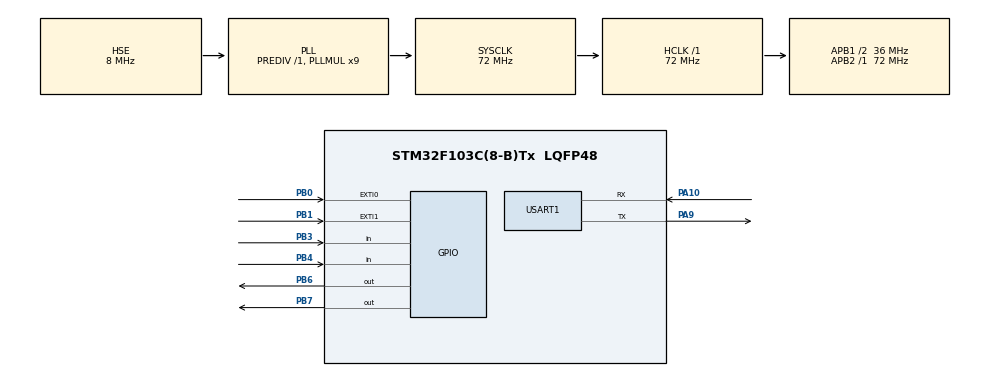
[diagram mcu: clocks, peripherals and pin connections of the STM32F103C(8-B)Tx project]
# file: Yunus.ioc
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Mcu.Family=STM32F1
Mcu.Name=STM32F103C(8-B)Tx
Mcu.Package=LQFP48
NVIC.EXTI0_IRQn=true\:0\:0\:false\:false\:true\:true
NVIC.EXTI1_IRQn=true\:0\:0\:false\:false\:true\:true
NVIC.PriorityGroup=NVIC_PRIORITYGROUP_4
NVIC.TIM1_UP_IRQn=true\:0\:0\:false\:false\:true\:true
NVIC.TIM2_IRQn=true\:0\:0\:false\:false\:true\:true
NVIC.TIM3_IRQn=true\:0\:0\:false\:false\:true\:true
PA10.Mode=Asynchronous
PA10.Signal=USART1_RX
PA9.Mode=Asynchronous
PA9.Signal=USART1_TX
PB0.GPIO_PuPd=GPIO_PULLUP
PB0.Signal=GPXTI0
PB1.GPIO_PuPd=GPIO_PULLUP
PB1.Signal=GPXTI1
PB3.GPIO_PuPd=GPIO_PULLUP
PB3.Signal=GPIO_Input
PB4.GPIO_PuPd=GPIO_PULLUP
PB4.Signal=GPIO_Input
PB6.Signal=GPIO_Output
PB7.Signal=GPIO_Output
PD0-OSC_IN.Mode=HSE-External-Oscillator
PD0-OSC_IN.Signal=RCC_OSC_IN
PD1-OSC_OUT.Mode=HSE-External-Oscillator
PD1-OSC_OUT.Signal=RCC_OSC_OUT
ProjectManager.HeapSize=0x800
ProjectManager.StackSize=0x800
ProjectManager.TargetToolchain=MDK-ARM V5
RCC.AHBFreq_Value=72000000
RCC.APB1CLKDivider=RCC_HCLK_DIV2
RCC.APB1Freq_Value=36000000
RCC.APB1TimFreq_Value=72000000
RCC.APB2Freq_Value=72000000
RCC.APB2TimFreq_Value=72000000
RCC.HCLKFreq_Value=72000000
RCC.PLLMUL=RCC_PLL_MUL9
RCC.PLLSourceVirtual=RCC_PLLSOURCE_HSE
RCC.SYSCLKFreq_VALUE=72000000
RCC.SYSCLKSource=RCC_SYSCLKSOURCE_PLLCLK
RCC.USBFreq_Value=72000000
TIM1.AutoReloadPreload=TIM_AUTORELOAD_PRELOAD_ENABLE
TIM1.Period=255
TIM1.Prescaler=1
TIM2.AutoReloadPreload=TIM_AUTORELOAD_PRELOAD_ENABLE
TIM2.ClockDivision=TIM_CLOCKDIVISION_DIV2
TIM2.Period=7000
TIM2.Prescaler=1000
TIM3.AutoReloadPreload=TIM_AUTORELOAD_PRELOAD_ENABLE
TIM3.ClockDivision=TIM_CLOCKDIVISION_DIV2
TIM3.Period=1000
TIM3.Prescaler=100
USART1.VirtualMode=VM_ASYNC
VP_SYS_VS_ND.Mode=No_Debug
VP_TIM1_VS_ClockSourceINT.Mode=Internal
VP_TIM2_VS_ClockSourceINT.Mode=Internal
VP_TIM3_VS_ClockSourceINT.Mode=Internal
board=custom

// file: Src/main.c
/**
  ******************************************************************************
  * @file           : main.c
  * @brief          : Main program body
  ******************************************************************************
  ** This notice applies to any and all portions of this file
  * that are not between comment pairs USER CODE BEGIN and
  * USER CODE END. Other portions of this file, whether
  * inserted by the user or by software development tools
  * are owned by their respective copyright owners.
  *
  * COPYRIGHT(c) 2018 STMicroelectronics
  *
  * Redistribution and use in source and binary forms, with or without modification,
  * are permitted provided that the following conditions are met:
  *   1. Redistributions of source code must retain the above copyright notice,
  *      this list of conditions and the following disclaimer.
  *   2. Redistributions in binary form must reproduce the above copyright notice,
  *      this list of conditions and the following disclaimer in the documentation
  *      and/or other materials provided with the distribution.
  *   3. Neither the name of STMicroelectronics nor the names of its contributors
  *      may be used to endorse or promote products derived from this software
  *      without specific prior written permission.
  *
  * THIS SOFTWARE IS PROVIDED BY THE COPYRIGHT HOLDERS AND CONTRIBUTORS "AS IS"
  * AND ANY EXPRESS OR IMPLIED WARRANTIES, INCLUDING, BUT NOT LIMITED TO, THE
  * IMPLIED WARRANTIES OF MERCHANTABILITY AND FITNESS FOR A PARTICULAR PURPOSE ARE
  * DISCLAIMED. IN NO EVENT SHALL THE COPYRIGHT HOLDER OR CONTRIBUTORS BE LIABLE
  * FOR ANY DIRECT, INDIRECT, INCIDENTAL, SPECIAL, EXEMPLARY, OR CONSEQUENTIAL
  * DAMAGES (INCLUDING, BUT NOT LIMITED TO, PROCUREMENT OF SUBSTITUTE GOODS OR
  * SERVICES; LOSS OF USE, DATA, OR PROFITS; OR BUSINESS INTERRUPTION) HOWEVER
  * CAUSED AND ON ANY THEORY OF LIABILITY, WHETHER IN CONTRACT, STRICT LIABILITY,
  * OR TORT (INCLUDING NEGLIGENCE OR OTHERWISE) ARISING IN ANY WAY OUT OF THE USE
  * OF THIS SOFTWARE, EVEN IF ADVISED OF THE POSSIBILITY OF SUCH DAMAGE.
  *
  ******************************************************************************
  */
#include "main.h"
#include "stm32f1xx_hal.h"

/* USER CODE BEGIN Includes */
#include <stdio.h>
#include <stdlib.h>
#include <string.h>
/* USER CODE END Includes */

TIM_HandleTypeDef htim1;
TIM_HandleTypeDef htim2;
TIM_HandleTypeDef htim3;

UART_HandleTypeDef huart1;

/* USER CODE BEGIN PV */
/* Private variables ---------------------------------------------------------*/

/* USER CODE END PV */

void SystemClock_Config(void);
static void MX_GPIO_Init(void);
static void MX_TIM1_Init(void);
static void MX_TIM2_Init(void);
static void MX_TIM3_Init(void);
static void MX_USART1_UART_Init(void);

/* USER CODE BEGIN PFP */
/* Private function prototypes -----------------------------------------------*/

/* USER CODE END PFP */

/* USER CODE BEGIN 0 */

struct __FILE
{
	int dummy;
};

FILE __stdout;

#ifdef __GNUC__
  /* With GCC/RAISONANCE, small printf (option LD Linker->Libraries->Small printf
     set to 'Yes') calls __io_putchar() */
  #define PUTCHAR_PROTOTYPE int __io_putchar(int ch)
#else
  #define PUTCHAR_PROTOTYPE int fputc(int ch, FILE *f)
#endif /* __GNUC__ */

TIM_HandleTypeDef htim1;
TIM_HandleTypeDef htim2;

uint32_t tim2counter01 = 0;
uint32_t tim2counter02 = 0;
uint32_t tim2counter03 = 0;
uint32_t tim2counter04 = 0;
uint8_t extiTick01 = 0;

uint8_t t2tick_flag01 = 0;
char strText[40];

__IO uint32_t pulsecounter01 = 0;
__IO uint32_t totalcounter01 = 0;
__IO uint32_t totalcounter02 = 0;
uint32_t pseq01 = 16;
uint32_t pseq02 = 11;
uint32_t pseq03 = 5;
uint32_t seq01 = 0;
uint32_t seq02 = 0;
uint32_t seq03 = 0;

uint32_t outpulseqntt = 74;
uint32_t inout_pulse_ratio = 0;
uint32_t out_pulse_width = 0;
uint32_t out_pulse_half_width = 0;
uint32_t out_pulse_counter01 = 0; //To control pulse width
uint32_t out_pulse_counter02 = 0; //To control output pulse quantity

uint8_t op_flag = 0;

uint8_t start_flag01 = 0;
uint8_t start_flag02 = 0;

uint32_t inpulsewidthacc = 0;
uint32_t inpwarr[10];
uint32_t ipwidx = 0;

uint32_t pulse_on_counter = 0;

__IO uint32_t cycle_counter = 0;

uint32_t ppdist01 = 0;
uint32_t ppdist02 = 0;

void HAL_TIM_PeriodElapsedCallback(TIM_HandleTypeDef *htim)
{
	if(htim->Instance == TIM2)
	{
		if(tim2counter01 < 1000UL) //320000)
		{
			tim2counter01++;
		}
		else
		{
			tim2counter01 = 0;
			t2tick_flag01 = 1;

			if(totalcounter02 >= outpulseqntt)
			{
				inout_pulse_ratio = (((totalcounter02 * 1000UL) - 1400UL) / outpulseqntt);
			}
			else
			{
				inout_pulse_ratio = (((totalcounter02  * 1000UL) - 1400UL) / outpulseqntt);
			}

			out_pulse_width = ((tim2counter03 * inout_pulse_ratio) / 1000UL);

			if(out_pulse_width > 1)
			{
				out_pulse_half_width = out_pulse_width / 2;
			}

		}

		if(pulse_on_counter > 0)
		{
			pulse_on_counter--;
		}
		else
		{
			HAL_GPIO_WritePin(GPIOB, GPIO_PIN_6, GPIO_PIN_RESET);

			if(start_flag01 == 1)
			{
				out_pulse_counter02 = (outpulseqntt * 2UL);
				out_pulse_counter01 = out_pulse_half_width;
				start_flag01 = 0;
			}
		}

		if(out_pulse_half_width > 0)
		{
			if(out_pulse_counter01 < out_pulse_half_width)
			{
				out_pulse_counter01++;
			}
			else
			{
				out_pulse_counter01 = 0;

				if(out_pulse_counter02 > 0)
				{
					HAL_GPIO_TogglePin(GPIOB, GPIO_PIN_7);
					out_pulse_counter02--;
				}
				else
				{
					HAL_GPIO_WritePin(GPIOB, GPIO_PIN_7, GPIO_PIN_RESET);
				}
			}
		}

		if(tim2counter02 < 1000000)
		{
			tim2counter02++;
		}
	}
}

uint8_t round_flag = 0;

void HAL_GPIO_EXTI_Callback(uint16_t GPIO_Pin)
{
	if(GPIO_Pin == GPIO_PIN_0)
	{
		tim2counter04 = tim2counter02;
		tim2counter02 = 0;
		pulsecounter01++;

		if(ipwidx < 10)
		{

			inpulsewidthacc = inpwarr[0] + inpwarr[1] + inpwarr[2] + inpwarr[3] + inpwarr[4] + inpwarr[5] + inpwarr[6] + inpwarr[7] + inpwarr[8] + inpwarr[9];
			tim2counter03 = (inpulsewidthacc / 10);

			inpwarr[ipwidx] = tim2counter04;

			ipwidx++;
		}
		else
		{
			ipwidx = 0;
			round_flag = 1;
			//inpulsewidthacc = 0;
		}

	}
	if(GPIO_Pin == GPIO_PIN_1)
	{
		seq03 = pulsecounter01;

		totalcounter01 += pulsecounter01;
		//ppdist02 = ppdist01;
		//ppdist01 = 0;

		//if((seq01 == pseq01) || (seq02 == pseq02) || (seq03 == pseq03))
		//{
		//}

		if(seq03 == pseq01)
		{
			if(totalcounter01 == (totalcounter02 - (pseq02 + pseq03)))
			{
				HAL_GPIO_WritePin(GPIOB, GPIO_PIN_6, GPIO_PIN_SET);
				pulse_on_counter = out_pulse_half_width;

				start_flag01 = 1;
				//out_pulse_counter02 = (outpulseqntt * 2UL);
			}
		}
		else if(seq03 == pseq02)
		{
			if(totalcounter01 == (totalcounter02 - pseq03))
			{
				HAL_GPIO_WritePin(GPIOB, GPIO_PIN_6, GPIO_PIN_SET);
				pulse_on_counter = out_pulse_half_width;
			}
		}
		else if(seq03 == pseq03)
		{
			if(totalcounter01 == totalcounter02)
			{
				HAL_GPIO_WritePin(GPIOB, GPIO_PIN_6, GPIO_PIN_SET);
				pulse_on_counter = out_pulse_half_width;
			}
		}

		if((seq01 == pseq01) && (seq02 == pseq02) && (seq03 == pseq03))
		{
			totalcounter02 = totalcounter01; //totalcounter02 : pulse per cycle matched.
			totalcounter01 = 0;

			if(cycle_counter < 100000)
			{
				cycle_counter++;
			}
			else
			{
				cycle_counter = 0;
			}
		}

		seq01 = seq02;
		seq02 = seq03;

		pulsecounter01 = 0;
	}
}

PUTCHAR_PROTOTYPE
{
  /* Place your implementation of fputc here */
  /* e.g. write a character to the USART */
  HAL_UART_Transmit(&huart1, (uint8_t*) &ch, 1, 0x0fff);

  /* Loop until the end of transmission */
  //while (USART_GetFlagStatus(Port_USART, USART_FLAG_TC) == RESET)
  //{}

  return ch;
}

/* USER CODE END 0 */

int main(void)
{

  /* MCU Configuration----------------------------------------------------------*/

  /* Reset of all peripherals, Initializes the Flash interface and the Systick. */
  HAL_Init();

  /* Configure the system clock */
  SystemClock_Config();

  /* Initialize all configured peripherals */
  MX_GPIO_Init();
  MX_TIM1_Init();
  MX_TIM2_Init();
  MX_TIM3_Init();
  MX_USART1_UART_Init();
  /* USER CODE BEGIN 2 */

	uint32_t lambda02 = 0;
	uint32_t lambda01 = 0;

	HAL_TIM_Base_Start_IT(&htim2);

  /* USER CODE END 2 */

  /* Infinite loop */
  /* USER CODE BEGIN WHILE */
  while (1)
  {

		//HAL_Delay(50);

  /* USER CODE END WHILE */

  /* USER CODE BEGIN 3 */
		if(t2tick_flag01 == 1)
		{
			t2tick_flag01 = 0;
			//sprintf(strText, "pulse_width : %05d", tim2counter03);
			//printf("%s ", strText);

			//from calc assuming that timer2 resolution is 3.949uS .

			lambda02 = (1000000000UL / (3949UL * tim2counter03));
			//lambda01 = (lambda02/1000);
			sprintf(strText, "freq : %05d ", lambda02);
			printf("%s ", strText);

			////sprintf(strText, "seq : %03d %03d %03d ", seq01, seq02, seq03);
			//sprintf(strText, "cycles : %06d", cycle_counter);
			//printf("%s ", strText);

			//sprintf(strText, "pulse/cycle %04d \r\n", totalcounter02);
			//printf("%s ", strText);

			//sprintf(strText, "pulse dist %05d\r\n", ppdist02);
			//printf("%s ", strText);

			/*	We know that our Timer2 tick time is 3.949 uS = 3949 pico seconds. Total pulse per circle is totalcounter02 .
					Each pulse width is (tim2counter03 * 3949) pico seconds. So full circle needs
					( totalcounter02 * tim2counter03 * 3949 ) picoseconds. We need to deliver outpulseqntt amount of pulses within the
					circle time. One of the factor is this circle time is real time variable depends on input pulse width.
					So we need to find out a relational factor between input pulse width and output pulse width.
					Lets assume that our time unit is each tick time of Timer2 ( i.e. 3.949 uS = 3949 picoseconds ) .
					Pulse width is tim2counter03 variable.
			*/

			/*
			if(totalcounter02 > outpulseqntt)
			{
				inout_pulse_ratio = (((totalcounter02 - 1) * 1000UL) / outpulseqntt);
			}
			else
			{
				inout_pulse_ratio = 1000;
			}

			out_pulse_width = ((tim2counter03 * inout_pulse_ratio) / 1000UL);

			if(out_pulse_width > 1)
			{
				out_pulse_half_width = out_pulse_width / 2;
			}
			*/
		}

  }
  /* USER CODE END 3 */

}

void SystemClock_Config(void)
{

  RCC_OscInitTypeDef RCC_OscInitStruct;
  RCC_ClkInitTypeDef RCC_ClkInitStruct;

    /**Initializes the CPU, AHB and APB busses clocks
    */
  RCC_OscInitStruct.OscillatorType = RCC_OSCILLATORTYPE_HSE;
  RCC_OscInitStruct.HSEState = RCC_HSE_ON;
  RCC_OscInitStruct.HSEPredivValue = RCC_HSE_PREDIV_DIV1;
  RCC_OscInitStruct.HSIState = RCC_HSI_ON;
  RCC_OscInitStruct.PLL.PLLState = RCC_PLL_ON;
  RCC_OscInitStruct.PLL.PLLSource = RCC_PLLSOURCE_HSE;
  RCC_OscInitStruct.PLL.PLLMUL = RCC_PLL_MUL9;
  if (HAL_RCC_OscConfig(&RCC_OscInitStruct) != HAL_OK)
  {
    _Error_Handler(__FILE__, __LINE__);
  }

    /**Initializes the CPU, AHB and APB busses clocks
    */
  RCC_ClkInitStruct.ClockType = RCC_CLOCKTYPE_HCLK|RCC_CLOCKTYPE_SYSCLK
                              |RCC_CLOCKTYPE_PCLK1|RCC_CLOCKTYPE_PCLK2;
  RCC_ClkInitStruct.SYSCLKSource = RCC_SYSCLKSOURCE_PLLCLK;
  RCC_ClkInitStruct.AHBCLKDivider = RCC_SYSCLK_DIV1;
  RCC_ClkInitStruct.APB1CLKDivider = RCC_HCLK_DIV2;
  RCC_ClkInitStruct.APB2CLKDivider = RCC_HCLK_DIV1;

  if (HAL_RCC_ClockConfig(&RCC_ClkInitStruct, FLASH_LATENCY_2) != HAL_OK)
  {
    _Error_Handler(__FILE__, __LINE__);
  }

    /**Configure the Systick interrupt time
    */
  HAL_SYSTICK_Config(HAL_RCC_GetHCLKFreq()/1000);

    /**Configure the Systick
    */
  HAL_SYSTICK_CLKSourceConfig(SYSTICK_CLKSOURCE_HCLK);

  /* SysTick_IRQn interrupt configuration */
  HAL_NVIC_SetPriority(SysTick_IRQn, 0, 0);
}

/* TIM1 init function */
static void MX_TIM1_Init(void)
{

  TIM_ClockConfigTypeDef sClockSourceConfig;
  TIM_MasterConfigTypeDef sMasterConfig;

  htim1.Instance = TIM1;
  htim1.Init.Prescaler = 1;
  htim1.Init.CounterMode = TIM_COUNTERMODE_UP;
  htim1.Init.Period = 255;
  htim1.Init.ClockDivision = TIM_CLOCKDIVISION_DIV1;
  htim1.Init.RepetitionCounter = 0;
  htim1.Init.AutoReloadPreload = TIM_AUTORELOAD_PRELOAD_ENABLE;
  if (HAL_TIM_Base_Init(&htim1) != HAL_OK)
  {
    _Error_Handler(__FILE__, __LINE__);
  }

  sClockSourceConfig.ClockSource = TIM_CLOCKSOURCE_INTERNAL;
  if (HAL_TIM_ConfigClockSource(&htim1, &sClockSourceConfig) != HAL_OK)
  {
    _Error_Handler(__FILE__, __LINE__);
  }

  sMasterConfig.MasterOutputTrigger = TIM_TRGO_RESET;
  sMasterConfig.MasterSlaveMode = TIM_MASTERSLAVEMODE_DISABLE;
  if (HAL_TIMEx_MasterConfigSynchronization(&htim1, &sMasterConfig) != HAL_OK)
  {
    _Error_Handler(__FILE__, __LINE__);
  }

}

/* TIM2 init function */
static void MX_TIM2_Init(void)
{

  TIM_ClockConfigTypeDef sClockSourceConfig;
  TIM_MasterConfigTypeDef sMasterConfig;

  htim2.Instance = TIM2;
  htim2.Init.Prescaler = 1;
  htim2.Init.CounterMode = TIM_COUNTERMODE_UP;
  htim2.Init.Period = 70;
  htim2.Init.ClockDivision = TIM_CLOCKDIVISION_DIV2;
  htim2.Init.AutoReloadPreload = TIM_AUTORELOAD_PRELOAD_ENABLE;
  if (HAL_TIM_Base_Init(&htim2) != HAL_OK)
  {
    _Error_Handler(__FILE__, __LINE__);
  }

  sClockSourceConfig.ClockSource = TIM_CLOCKSOURCE_INTERNAL;
  if (HAL_TIM_ConfigClockSource(&htim2, &sClockSourceConfig) != HAL_OK)
  {
    _Error_Handler(__FILE__, __LINE__);
  }

  sMasterConfig.MasterOutputTrigger = TIM_TRGO_RESET;
  sMasterConfig.MasterSlaveMode = TIM_MASTERSLAVEMODE_DISABLE;
  if (HAL_TIMEx_MasterConfigSynchronization(&htim2, &sMasterConfig) != HAL_OK)
  {
    _Error_Handler(__FILE__, __LINE__);
  }

}

/* TIM3 init function */
static void MX_TIM3_Init(void)
{

  TIM_ClockConfigTypeDef sClockSourceConfig;
  TIM_MasterConfigTypeDef sMasterConfig;

  htim3.Instance = TIM3;
  htim3.Init.Prescaler = 100;
  htim3.Init.CounterMode = TIM_COUNTERMODE_UP;
  htim3.Init.Period = 1000;
  htim3.Init.ClockDivision = TIM_CLOCKDIVISION_DIV2;
  htim3.Init.AutoReloadPreload = TIM_AUTORELOAD_PRELOAD_ENABLE;
  if (HAL_TIM_Base_Init(&htim3) != HAL_OK)
  {
    _Error_Handler(__FILE__, __LINE__);
  }

  sClockSourceConfig.ClockSource = TIM_CLOCKSOURCE_INTERNAL;
  if (HAL_TIM_ConfigClockSource(&htim3, &sClockSourceConfig) != HAL_OK)
  {
    _Error_Handler(__FILE__, __LINE__);
  }

  sMasterConfig.MasterOutputTrigger = TIM_TRGO_RESET;
  sMasterConfig.MasterSlaveMode = TIM_MASTERSLAVEMODE_DISABLE;
  if (HAL_TIMEx_MasterConfigSynchronization(&htim3, &sMasterConfig) != HAL_OK)
  {
    _Error_Handler(__FILE__, __LINE__);
  }

}

/* USART1 init function */
static void MX_USART1_UART_Init(void)
{

  huart1.Instance = USART1;
  huart1.Init.BaudRate = 115200;
  huart1.Init.WordLength = UART_WORDLENGTH_8B;
  huart1.Init.StopBits = UART_STOPBITS_1;
  huart1.Init.Parity = UART_PARITY_NONE;
  huart1.Init.Mode = UART_MODE_TX_RX;
  huart1.Init.HwFlowCtl = UART_HWCONTROL_NONE;
  huart1.Init.OverSampling = UART_OVERSAMPLING_16;
  if (HAL_UART_Init(&huart1) != HAL_OK)
  {
    _Error_Handler(__FILE__, __LINE__);
  }

}

/** Configure pins as
        * Analog
        * Input
        * Output
        * EVENT_OUT
        * EXTI
*/
static void MX_GPIO_Init(void)
{

  GPIO_InitTypeDef GPIO_InitStruct;

  /* GPIO Ports Clock Enable */
  __HAL_RCC_GPIOD_CLK_ENABLE();
  __HAL_RCC_GPIOB_CLK_ENABLE();
  __HAL_RCC_GPIOA_CLK_ENABLE();

  /*Configure GPIO pin Output Level */
  HAL_GPIO_WritePin(GPIOB, GPIO_PIN_6|GPIO_PIN_7, GPIO_PIN_RESET);

  /*Configure GPIO pins : PB0 PB1 */
  GPIO_InitStruct.Pin = GPIO_PIN_0|GPIO_PIN_1;
  GPIO_InitStruct.Mode = GPIO_MODE_IT_RISING;
  GPIO_InitStruct.Pull = GPIO_PULLUP;
  HAL_GPIO_Init(GPIOB, &GPIO_InitStruct);

  /*Configure GPIO pins : PB3 PB4 */
  GPIO_InitStruct.Pin = GPIO_PIN_3|GPIO_PIN_4;
  GPIO_InitStruct.Mode = GPIO_MODE_INPUT;
  GPIO_InitStruct.Pull = GPIO_PULLUP;
  HAL_GPIO_Init(GPIOB, &GPIO_InitStruct);

  /*Configure GPIO pins : PB6 PB7 */
  GPIO_InitStruct.Pin = GPIO_PIN_6|GPIO_PIN_7;
  GPIO_InitStruct.Mode = GPIO_MODE_OUTPUT_PP;
  GPIO_InitStruct.Pull = GPIO_NOPULL;
  GPIO_InitStruct.Speed = GPIO_SPEED_FREQ_LOW;
  HAL_GPIO_Init(GPIOB, &GPIO_InitStruct);

  /* EXTI interrupt init*/
  HAL_NVIC_SetPriority(EXTI0_IRQn, 0, 0);
  HAL_NVIC_EnableIRQ(EXTI0_IRQn);

  HAL_NVIC_SetPriority(EXTI1_IRQn, 0, 0);
  HAL_NVIC_EnableIRQ(EXTI1_IRQn);

}

void _Error_Handler(char *file, int line)
{
  while(1)
  {
  }
}

/************************ (C) COPYRIGHT STMicroelectronics *****END OF FILE****/
